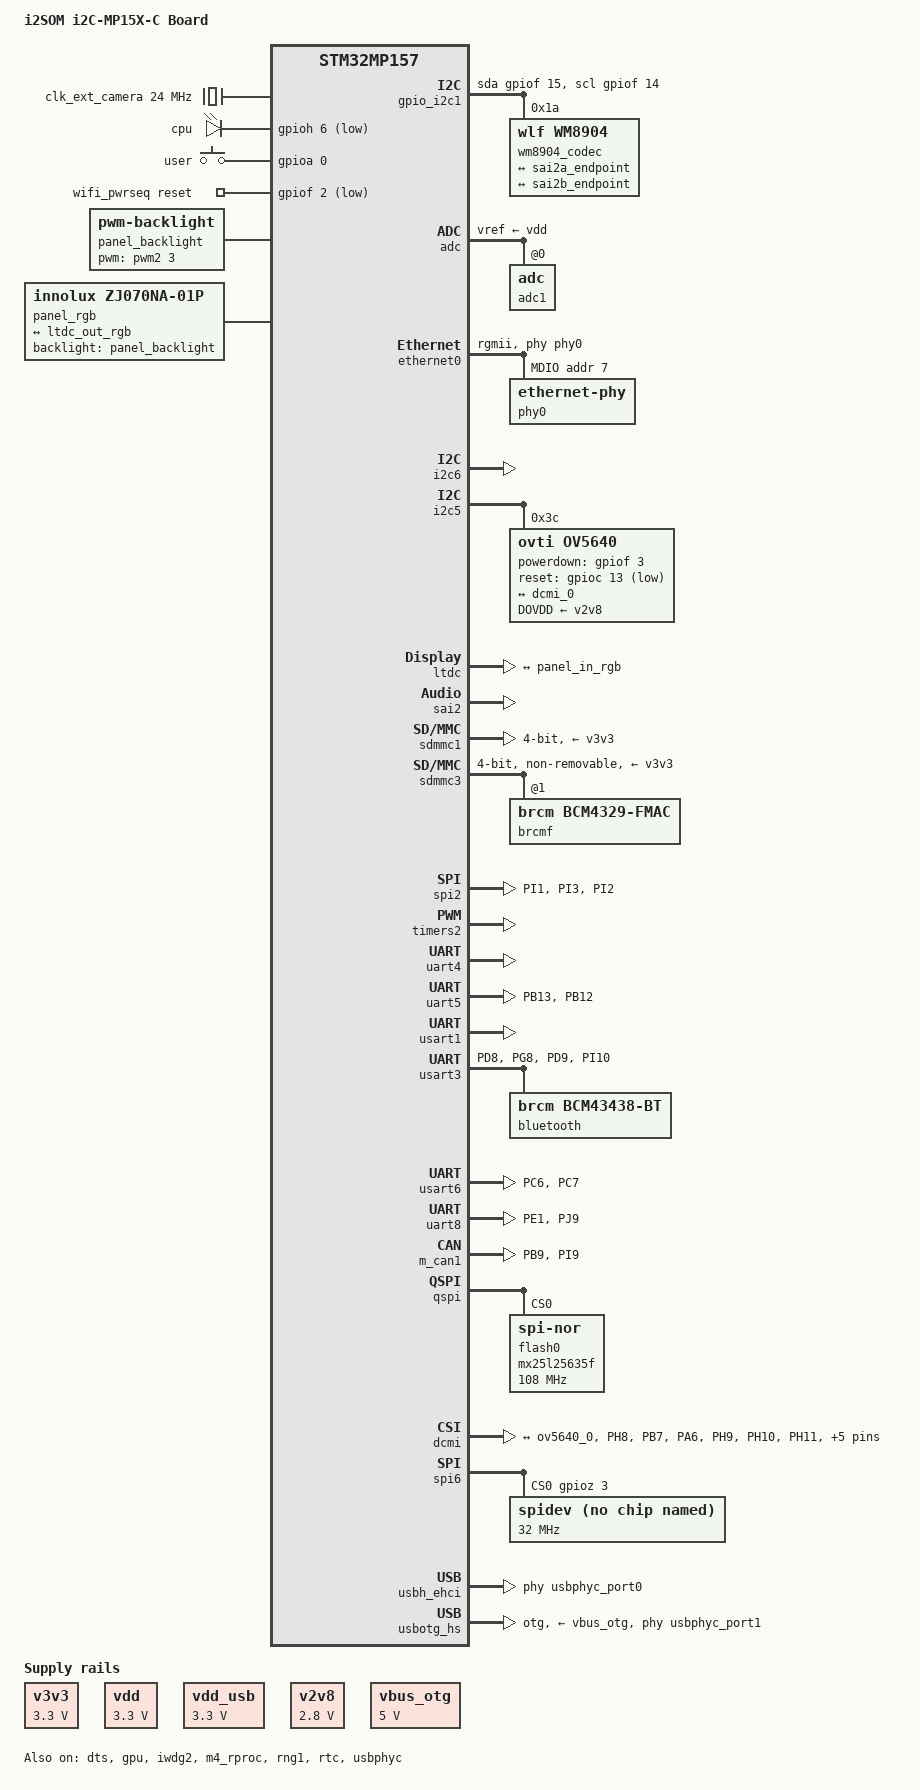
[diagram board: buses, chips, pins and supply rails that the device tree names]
// SPDX-License-Identifier: (GPL-2.0+ OR BSD-3-Clause)
/*
 * Copyright (C) i2SOM 2018 - All Rights Reserved
 * Author: Steve Chen <steve.chen@i2som.tech>.
 */

/dts-v1/;

#include "stm32mp157a-i2smp15x-d512e4.dtsi"
#include <dt-bindings/gpio/gpio.h>
#include <dt-bindings/input/input.h>
#include <dt-bindings/rtc/rtc-stm32.h>

/ {
	model = "i2SOM i2C-MP15X-C Board";
	compatible = "i2som,i2cmp15xb", "st,stm32mp157";

	aliases {
		ethernet0 = &ethernet0;
		serial0 = &uart4;
		serial3 = &usart1;
		serial2 = &usart3;
		serial4 = &uart5;
		serial5 = &usart6;
		serial7 = &uart8;
	};

	chosen {
		stdout-path = "serial0:115200n8";
	};

	clocks {
		clk_ext_camera: clk-ext-camera {
			#clock-cells = <0>;
			compatible = "fixed-clock";
			clock-frequency = <24000000>;
		};
	};

	leds {
		compatible = "gpio-leds";

		cpu {
			label = "cpu";
			gpios = <&gpioh 6 GPIO_ACTIVE_LOW>;
			linux,default-trigger = "heartbeat";
			default-state = "on";
		};
	};

	keys {
		compatible = "gpio-keys";

		user {
			label = "user";
			gpios = <&gpioa 0 GPIO_ACTIVE_HIGH>;
			gpio-key,wakeup;
			linux,code = <KEY_ENTER>;
		};
	};

	usb_phy_tuning: usb-phy-tuning {
		st,hs-dc-level = <2>;
		st,fs-rftime-tuning;
		st,hs-rftime-reduction;
		st,hs-current-trim = <15>;
		st,hs-impedance-trim = <1>;
		st,squelch-level = <3>;
		st,hs-rx-offset = <2>;
		st,no-lsfs-sc;
	};

	v3v3: regulator-3p3v {
		compatible = "regulator-fixed";
		regulator-name = "v3v3";
		regulator-min-microvolt = <3300000>;
		regulator-max-microvolt = <3300000>;
		regulator-always-on;
		regulator-boot-on;
	};

	vdd: regulator-vdd {
		compatible = "regulator-fixed";
		regulator-name = "vdd";
		regulator-min-microvolt = <3300000>;
		regulator-max-microvolt = <3300000>;
		regulator-always-on;
		regulator-boot-on;
	};

	vdd_usb: regulator-vdd-usb {
		compatible = "regulator-fixed";
		regulator-name = "vdd_usb";
		regulator-min-microvolt = <3300000>;
		regulator-max-microvolt = <3300000>;
		regulator-always-on;
		regulator-boot-on;
	};

	v2v8: v2v8 {
		compatible = "regulator-fixed";
		regulator-name = "v2v8";
		regulator-min-microvolt = <2800000>;
		regulator-max-microvolt = <2800000>;
		regulator-always-on;
		regulator-boot-on;
	};

	vbus_otg: regulator-vbus-otg {
		compatible = "regulator-fixed";
		regulator-name = "vbus_otg";
		regulator-min-microvolt = <5000000>;
		regulator-max-microvolt = <5000000>;
		regulator-always-on;
		regulator-boot-on;
	};

	wifi_pwrseq: wifi-pwrseq {
		compatible = "mmc-pwrseq-simple";
		reset-gpios = <&gpiof 2 GPIO_ACTIVE_LOW>;
	};

	gpio_i2c1: gpio-i2c1 {
		compatible = "i2c-gpio";
		sda-gpios = <&gpiof 15 (GPIO_ACTIVE_HIGH|GPIO_OPEN_DRAIN)>;
		scl-gpios = <&gpiof 14 (GPIO_ACTIVE_HIGH|GPIO_OPEN_DRAIN)>;
		i2c-gpio,delay-us = <2>;    /* ~100 kHz */
		#address-cells = <1>;
		#size-cells = <0>;
		status = "okay";
	};

	panel_backlight: panel-backlight {
		compatible = "pwm-backlight";
		pwms = <&pwm2 3 500000>;
		brightness-levels = <0 4 8 14 18 24 28 34 38 44 48 54 58 64 68 74 78 84 88 96 112 128 144 160 176 192 194 196 200 255>;
		default-brightness-level = <6>;
		status = "okay";
	};

	panel_rgb: panel-rgb {
		//compatible = "innolux,at070tn92";
		compatible = "innolux,zj070na-01p";
		//compatible = "innolux,at043tn24";
		pinctrl-names = "default", "sleep";
		pinctrl-0 = <&ltdc_pins_c>;
		pinctrl-1 = <&ltdc_pins_sleep_c>;
		backlight = <&panel_backlight>;
		status = "okay";

		port {
			panel_in_rgb: endpoint {
				remote-endpoint = <&ltdc_out_rgb>;
			};
		};
	};

	sound {
		compatible = "audio-graph-card";
		label = "WM8904-i2CMP15XB";
		mclk-fs = <256>;
		dai-format = "i2s";
		simple-audio-card,widgets =
			"Microphone", "Mic Jack",
			"Line", "Line In Jack",
			"Headphone", "Headphone Jack";
		simple-audio-card,routing =
			"Headphone Jack", "HPOUTL",
			"Headphone Jack", "HPOUTR",
			"MICBIAS", "Mic Jack",
			"IN1L", "MICBIAS",
			"IN2L", "Line In Jack",
			"IN2R", "Line In Jack";
		dais = <&sai2a_port &sai2b_port>;
		status = "okay";
	};
};

&pinctrl {
	pwm2_pins_b: pwm2-0 {
		pins {
			pinmux = <STM32_PINMUX('A', 3, AF1)>;  /* TIM2_CH4 */
			bias-pull-down;
			drive-push-pull;
			slew-rate = <0>;
		};
	};

	pwm2_sleep_pins_b: pwm2-sleep-0 {
		pins {
			pinmux = <STM32_PINMUX('A', 3, ANALOG)>;  /* TIM2_CH4 */
		};
	};

	uart5_pins_a: uart5-0 {
		pins1 {
			pinmux = <STM32_PINMUX('B', 13, AF14)>; /* UART5_TX */
			bias-disable;
			drive-push-pull;
			slew-rate = <0>;
		};
		pins2 {
			pinmux = <STM32_PINMUX('B', 12, AF14)>; /* UART5_RX */
			bias-disable;
		};
	};

	uart5_idle_pins_a: uart5-idle-0 {
		pins1 {
			pinmux = <STM32_PINMUX('B', 13, ANALOG)>; /* UART5_TX */
		};
		pins2 {
			pinmux = <STM32_PINMUX('B', 12, AF14)>; /* UART5_RX */
			bias-disable;
		};
	};

	uart5_sleep_pins_a: uart5-sleep-0 {
		pins {
			pinmux = <STM32_PINMUX('B', 13, ANALOG)>, /* UART5_TX */
				 <STM32_PINMUX('B', 12, ANALOG)>; /* UART5_RX */
		};
	};

	gt9147_irq:gt9147_irq {
		pins {
			pinmux = <STM32_PINMUX('G', 7, GPIO)>; /* PG7.GPIO */
			bias-pull-down;
			drive-push-pull;
		};
	};

	dcmi_pins_b: dcmi-1 {
		pins {
			pinmux = <STM32_PINMUX('H', 8,  AF13)>,/* DCMI_HSYNC */
				 <STM32_PINMUX('B', 7,  AF13)>,/* DCMI_VSYNC */
				 <STM32_PINMUX('A', 6,  AF13)>,/* DCMI_PIXCLK */
				 <STM32_PINMUX('H', 9,  AF13)>,/* DCMI_D0 */
				 <STM32_PINMUX('H', 10, AF13)>,/* DCMI_D1 */
				 <STM32_PINMUX('H', 11, AF13)>,/* DCMI_D2 */
				 <STM32_PINMUX('H', 12, AF13)>,/* DCMI_D3 */
				 <STM32_PINMUX('E', 4,  AF13)>,/* DCMI_D4 */
				 <STM32_PINMUX('I', 4,  AF13)>,/* DCMI_D5 */
				 <STM32_PINMUX('B', 8,  AF13)>,/* DCMI_D6 */
				 <STM32_PINMUX('E', 6,  AF13)>;/* DCMI_D7 */
			bias-disable;
		};
	};

	dcmi_sleep_pins_b: dcmi-sleep-1 {
		pins {
			pinmux = <STM32_PINMUX('H', 8,  ANALOG)>,/* DCMI_HSYNC */
				 <STM32_PINMUX('B', 7,  ANALOG)>,/* DCMI_VSYNC */
				 <STM32_PINMUX('A', 6,  ANALOG)>,/* DCMI_PIXCLK */
				 <STM32_PINMUX('H', 9,  ANALOG)>,/* DCMI_D0 */
				 <STM32_PINMUX('H', 10, ANALOG)>,/* DCMI_D1 */
				 <STM32_PINMUX('H', 11, ANALOG)>,/* DCMI_D2 */
				 <STM32_PINMUX('H', 12, ANALOG)>,/* DCMI_D3 */
				 <STM32_PINMUX('H', 14, ANALOG)>,/* DCMI_D4 */
				 <STM32_PINMUX('I', 4,  ANALOG)>,/* DCMI_D5 */
				 <STM32_PINMUX('B', 8,  ANALOG)>,/* DCMI_D6 */
				 <STM32_PINMUX('E', 6,  ANALOG)>;/* DCMI_D7 */
		};
	};

	ltdc_pins_c: ltdc-c-0 {
		pins {
			pinmux = <STM32_PINMUX('I', 14, AF14)>, /* LCD_CLK */
				 <STM32_PINMUX('I', 12, AF14)>, /* LCD_HSYNC */
				 <STM32_PINMUX('I', 13, AF14)>, /* LCD_VSYNC */
				 <STM32_PINMUX('K',  7, AF14)>, /* LCD_DE */
				 <STM32_PINMUX('I', 15, AF14)>, /* LCD_R0 */
				 <STM32_PINMUX('J',  0, AF14)>, /* LCD_R1 */
				 <STM32_PINMUX('J',  1, AF14)>, /* LCD_R2 */
				 <STM32_PINMUX('J',  2, AF14)>, /* LCD_R3 */
				 <STM32_PINMUX('J',  3, AF14)>, /* LCD_R4 */
				 <STM32_PINMUX('J',  4, AF14)>, /* LCD_R5 */
				 <STM32_PINMUX('J',  5, AF14)>, /* LCD_R6 */
				 <STM32_PINMUX('J',  6, AF14)>, /* LCD_R7 */
				 <STM32_PINMUX('J',  7, AF14)>, /* LCD_G0 */
				 <STM32_PINMUX('J',  8, AF14)>, /* LCD_G1 */
				 <STM32_PINMUX('H', 13, AF14)>, /* LCD_G2 */
				 <STM32_PINMUX('H', 14, AF14)>, /* LCD_G3 */
				 <STM32_PINMUX('J', 11, AF14)>, /* LCD_G4 */
				 <STM32_PINMUX('H',  4, AF9)>,  /* LCD_G5 */
				 <STM32_PINMUX('I', 11, AF9)>,  /* LCD_G6 */
				 <STM32_PINMUX('K',  2, AF14)>, /* LCD_G7 */
				 <STM32_PINMUX('J', 12, AF14)>, /* LCD_B0 */
				 <STM32_PINMUX('J', 13, AF14)>, /* LCD_B1 */
				 <STM32_PINMUX('J', 14, AF14)>, /* LCD_B2 */
				 <STM32_PINMUX('J', 15, AF14)>, /* LCD_B3 */
				 <STM32_PINMUX('K',  3, AF14)>, /* LCD_B4 */
				 <STM32_PINMUX('K',  4, AF14)>, /* LCD_B5 */
				 <STM32_PINMUX('K',  5, AF14)>, /* LCD_B6 */
				 <STM32_PINMUX('K',  6, AF14)>; /* LCD_B7 */
			bias-disable;
			drive-push-pull;
			slew-rate = <1>;
		};
	};

	ltdc_pins_sleep_c: ltdc-c-1 {
		pins {
			pinmux = <STM32_PINMUX('I', 14, ANALOG)>, /* LCD_CLK */
				 <STM32_PINMUX('I', 12, ANALOG)>, /* LCD_HSYNC */
				 <STM32_PINMUX('I', 13, ANALOG)>, /* LCD_VSYNC */
				 <STM32_PINMUX('K',  7, ANALOG)>, /* LCD_DE */
				 <STM32_PINMUX('I', 15, ANALOG)>, /* LCD_R0 */
				 <STM32_PINMUX('J',  0, ANALOG)>, /* LCD_R1 */
				 <STM32_PINMUX('J',  1, ANALOG)>, /* LCD_R2 */
				 <STM32_PINMUX('J',  2, ANALOG)>, /* LCD_R3 */
				 <STM32_PINMUX('J',  3, ANALOG)>, /* LCD_R4 */
				 <STM32_PINMUX('J',  4, ANALOG)>, /* LCD_R5 */
				 <STM32_PINMUX('J',  5, ANALOG)>, /* LCD_R6 */
				 <STM32_PINMUX('J',  6, ANALOG)>, /* LCD_R7 */
				 <STM32_PINMUX('J',  7, ANALOG)>, /* LCD_G0 */
				 <STM32_PINMUX('J',  8, ANALOG)>, /* LCD_G1 */
				 <STM32_PINMUX('H', 13, ANALOG)>, /* LCD_G2 */
				 <STM32_PINMUX('H', 14, ANALOG)>, /* LCD_G3 */
				 <STM32_PINMUX('J', 11, ANALOG)>, /* LCD_G4 */
				 <STM32_PINMUX('H',  4, ANALOG)>, /* LCD_G5 */
				 <STM32_PINMUX('I', 11, ANALOG)>, /* LCD_G6 */
				 <STM32_PINMUX('K',  2, ANALOG)>, /* LCD_G7 */
				 <STM32_PINMUX('J', 12, ANALOG)>, /* LCD_B0 */
				 <STM32_PINMUX('J', 13, ANALOG)>, /* LCD_B1 */
				 <STM32_PINMUX('J', 14, ANALOG)>, /* LCD_B2 */
				 <STM32_PINMUX('J', 15, ANALOG)>, /* LCD_B3 */
				 <STM32_PINMUX('K',  3, ANALOG)>, /* LCD_B4 */
				 <STM32_PINMUX('K',  4, ANALOG)>, /* LCD_B5 */
				 <STM32_PINMUX('K',  5, ANALOG)>, /* LCD_B6 */
				 <STM32_PINMUX('K',  6, ANALOG)>; /* LCD_B7 */
		};
	};

	uart8_pins_a: uart8-0 {
		pins1 {
			pinmux = <STM32_PINMUX('E', 1, AF8)>; /* UART8_TX */
			bias-disable;
			drive-push-pull;
			slew-rate = <0>;
		};
		pins2 {
			pinmux = <STM32_PINMUX('J', 9, AF8)>; /* UART8_RX */
			bias-disable;
		};
	};

	uart8_idle_pins_a: uart8-idle-0 {
		pins1 {
			pinmux = <STM32_PINMUX('E', 1, ANALOG)>; /* UART8_TX */
		};
		pins2 {
			pinmux = <STM32_PINMUX('J', 9, AF8)>; /* UART8_RX */
			bias-disable;
		};
	};

	uart8_sleep_pins_a: uart8-sleep-0 {
		pins {
			pinmux = <STM32_PINMUX('E', 1, ANALOG)>, /* UART8_TX */
				 <STM32_PINMUX('J', 9, ANALOG)>; /* UART8_RX */
		};
	};

	m_can1_pins_b: m-can1-b-0 {
		pins1 {
			pinmux = <STM32_PINMUX('B', 9, AF9)>; /* CAN1_TX */
			slew-rate = <0>;
			drive-push-pull;
			bias-disable;
		};
		pins2 {
			pinmux = <STM32_PINMUX('I', 9, AF9)>; /* CAN1_RX */
			bias-disable;
		};
	};

	m_can1_sleep_pins_b: m_can1-b-sleep@0 {
		pins {
			pinmux = <STM32_PINMUX('B', 9, ANALOG)>, /* CAN1_TX */
				 <STM32_PINMUX('I', 9, ANALOG)>; /* CAN1_RX */
		};
	};

	m_can2_pins_a: m-can2-0 {
		pins1 {
			pinmux = <STM32_PINMUX('B', 13, AF9)>; /* CAN2_TX */
			slew-rate = <0>;
			drive-push-pull;
			bias-disable;
		};
		pins2 {
			pinmux = <STM32_PINMUX('B', 12, AF9)>; /* CAN2_RX */
			bias-disable;
		};
	};

	m_can2_sleep_pins_a: m_can2-sleep@0 {
		pins {
			pinmux = <STM32_PINMUX('B', 13, ANALOG)>, /* CAN2_TX */
				 <STM32_PINMUX('B', 12, ANALOG)>; /* CAN2_RX */
		};
	};

	usart3_pins_c: usart3-2 {
		pins1 {
			pinmux = <STM32_PINMUX('D', 8, AF7)>, /* USART3_TX */
				 <STM32_PINMUX('G', 8, AF8)>; /* USART3_RTS */
			bias-disable;
			drive-push-pull;
			slew-rate = <0>;
		};
		pins2 {
			pinmux = <STM32_PINMUX('D', 9, AF7)>, /* USART3_RX */
				 <STM32_PINMUX('I', 10, AF8)>; /* USART3_CTS_NSS */
			bias-disable;
		};
	};

	usart3_idle_pins_c: usart3-idle-2 {
		pins1 {
			pinmux = <STM32_PINMUX('D', 8, ANALOG)>, /* USART3_TX */
				 <STM32_PINMUX('G', 8, ANALOG)>, /* USART3_RTS */
				 <STM32_PINMUX('I', 10, ANALOG)>; /* USART3_CTS_NSS */
		};
		pins2 {
			pinmux = <STM32_PINMUX('D', 9, AF7)>; /* USART3_RX */
			bias-disable;
		};
	};

	usart3_sleep_pins_c: usart3-sleep-2 {
		pins {
			pinmux = <STM32_PINMUX('D', 8, ANALOG)>, /* USART3_TX */
				 <STM32_PINMUX('G', 8, ANALOG)>, /* USART3_RTS */
				 <STM32_PINMUX('I', 10, ANALOG)>, /* USART3_CTS_NSS */
				 <STM32_PINMUX('D', 9, ANALOG)>; /* USART3_RX */
		};
	};

	usart6_pins_a: usart6-a-1 {
		pins1 {
			pinmux = <STM32_PINMUX('C', 6, AF7)>; /* USART6_TX */
			bias-disable;
			drive-push-pull;
			slew-rate = <0>;
		};
		pins2 {
			pinmux = <STM32_PINMUX('C', 7, AF7)>; /* USART6_RX */
			bias-disable;
		};
	};

	usart6_idle_pins_a: usart6-idle-a-2 {
		pins1 {
			pinmux = <STM32_PINMUX('C', 6, ANALOG)>; /* USART6_TX */
		};
		pins2 {
			pinmux = <STM32_PINMUX('C', 7, AF7)>; /* USART6_RX */
			bias-disable;
		};
	};

	usart6_sleep_pins_a: usart6-sleep-a-2 {
		pins {
			pinmux = <STM32_PINMUX('C', 6, ANALOG)>, /* USART6_TX */
				 <STM32_PINMUX('C', 7, ANALOG)>; /* USART6_RX */
		};
	};


	i2c1_pins_b: i2c1-b-0 {
		pins {
			pinmux = <STM32_PINMUX('F', 14, AF5)>, /* I2C1_SCL */
				 <STM32_PINMUX('F', 15, AF5)>; /* I2C1_SDA */
			bias-disable;
			drive-open-drain;
			slew-rate = <0>;
		};
	};

	i2c1_pins_sleep_b: i2c1-b-1 {
		pins {
			pinmux = <STM32_PINMUX('F', 14, ANALOG)>, /* I2C1_SCL */
				 <STM32_PINMUX('F', 15, ANALOG)>; /* I2C1_SDA */
		};
	};

	spi2_pins_a: spi2-0 {
		pins1 {
			pinmux = <STM32_PINMUX('I', 1, AF5)>, /* SPI2_SCK */
				 <STM32_PINMUX('I', 3, AF5)>; /* SPI2_MOSI */
				 bias-disable;
				 drive-push-pull;
				 slew-rate = <1>;
		};

		pins2 {
			pinmux = <STM32_PINMUX('I', 2, AF5)>; /* SPI2_MISO */
		        bias-disable;
		};
	};

	spi2_sleep_pins_a: spi2-sleep-0 {
		pins {
			pinmux = <STM32_PINMUX('I', 1, ANALOG)>, /* SPI2_SCK */
				 <STM32_PINMUX('I', 2, ANALOG)>, /* SPI2_MISO */
				 <STM32_PINMUX('I', 3, ANALOG)>; /* SPI2_MOSI */
		};
	};

	bt_reg: bt_reg_on-1 {
		pins {
			pinmux = <STM32_PINMUX('G', 3, GPIO)>;
			drive-push-pull;
			bias-pull-up;
			output-high;
			slew-rate = <0>;
		};
	};
};

&pinctrl_z {
	usart1_pins_a: usart1-0 {
		pins1 {
			pinmux = <STM32_PINMUX('Z', 7, AF7)>; /* USART1_TX */
			bias-disable;
			drive-push-pull;
			slew-rate = <0>;
		};
		pins2 {
			pinmux = <STM32_PINMUX('Z', 6, AF7)>; /* USART1_RX */
			bias-disable;
		};
	};

	usart1_idle_pins_a: usart1-idle-0 {
		pins1 {
			pinmux = <STM32_PINMUX('Z', 7, ANALOG)>; /* USART1_TX */
		};
		pins2 {
			pinmux = <STM32_PINMUX('Z', 6, AF7)>; /* USART1_RX */
			bias-disable;
		};
	};

	usart1_sleep_pins_a: usart1-sleep-0 {
		pins {
			pinmux = <STM32_PINMUX('Z', 7, ANALOG)>, /* USART1_TX */
				 <STM32_PINMUX('Z', 6, ANALOG)>; /* USART1_RX */
		};
	};

	i2c6_pins_a: i2c6-0 {
		pins {
			pinmux = <STM32_PINMUX('Z', 4, AF2)>, /* I2C6_SCL */
				 <STM32_PINMUX('Z', 5, AF2)>; /* I2C6_SDA */
			bias-disable;
			drive-open-drain;
			slew-rate = <0>;
		};
	};

	i2c6_pins_sleep_a: i2c6-1 {
		pins {
			pinmux = <STM32_PINMUX('Z', 4, ANALOG)>, /* I2C6_SCL */
				 <STM32_PINMUX('Z', 5, ANALOG)>; /* I2C6_SDA */
		};
	};

	spi6_pins_a: spi6-0 {
		pins1 {
			pinmux = <STM32_PINMUX('Z', 0, AF8)>, /* SPI4_SCK */
				 <STM32_PINMUX('Z', 2, AF8)>; /* SPI4_MOSI */
				 bias-disable;
				 drive-push-pull;
				 slew-rate = <1>;
		};

		pins2 {
			pinmux = <STM32_PINMUX('Z', 1, AF8)>; /* SPI4_MISO */
		        bias-disable;
		};
	};

	spi6_sleep_pins_a: spi6-sleep-0 {
		pins {
			pinmux = <STM32_PINMUX('Z', 0, ANALOG)>, /* SPI4_SCK */
				 <STM32_PINMUX('Z', 1, ANALOG)>, /* SPI4_MISO */
				 <STM32_PINMUX('Z', 2, ANALOG)>; /* SPI4_MOSI */
		};
	};
};

&adc {
	vref-supply = <&vdd>;
	status = "okay";

	adc1: adc@0 {
		st,adc-channels = <0 1>;
		st,min-sample-time-nsecs = <10000>;
		status = "okay";
	};
};

&cec {
	status = "disabled";
};

&dma1 {
	sram = <&dma_pool>;
};

&dma2 {
	sram = <&dma_pool>;
};

&dts {
	status = "okay";
};

&ethernet0 {
	pinctrl-0 = <&ethernet0_rgmii_pins_a>;
	pinctrl-1 = <&ethernet0_rgmii_pins_sleep_a>;
	pinctrl-names = "default", "sleep";
	clock-names = "stmmaceth",
		      "mac-clk-tx",
		      "mac-clk-rx",
		      "ethstp",
		      "syscfg-clk",
		      "eth-ck";
	clocks = <&rcc ETHMAC>,
		 <&rcc ETHTX>,
		 <&rcc ETHRX>,
		 <&rcc ETHSTP>,
		 <&rcc SYSCFG>,
		 <&rcc ETHCK_K>;
	assigned-clocks = <&rcc ETHCK_K>;
	assigned-clock-parents = <&rcc PLL4_P>;
	assigned-clock-rates = <125000000>;
	phy-mode = "rgmii";
	max-speed = <1000>;
	phy-handle = <&phy0>;
	st,eth_clk_sel;
	status = "okay";

	mdio0 {
		#address-cells = <1>;
		#size-cells = <0>;
		compatible = "snps,dwmac-mdio";
		phy0: ethernet-phy@7 {
			reg = <7>;
			/* REG 0x0008, 5 bits per skew */
			txc-skew-ps  = <1800>;/* 900ps */
			rxc-skew-ps  = <1320>;/* 420ps */

			/* REG 0x0004, 4 bits per skew */
			txen-skew-ps = <420>; /* 0ps */
			rxdv-skew-ps = <420>; /* 0ps */

			/* REG 0x0005, 4 bits per skew */
			rxd0-skew-ps = <780>; /* 300ps */
			rxd1-skew-ps = <780>; /* 360ps */
			rxd2-skew-ps = <840>; /* 420ps */
			rxd3-skew-ps = <900>; /* 480ps */

			/* REG 0x0006, 4 bits per skew */
			txd0-skew-ps = <0>;   /* -420ps */
			txd1-skew-ps = <60>;  /* -360ps */
			txd2-skew-ps = <120>; /* -300ps */
			txd3-skew-ps = <180>; /* -240ps */

			micrel,force-master;
		};
	};
};

&gpu {
	contiguous-area = <&gpu_reserved>;
	status = "okay";
};

&i2c1 {
	pinctrl-names = "default", "sleep";
	pinctrl-0 = <&i2c1_pins_b>;
	pinctrl-1 = <&i2c1_pins_sleep_b>;
	i2c-scl-rising-time-ns = <100>;
	i2c-scl-falling-time-ns = <7>;
	status = "disabled";
	/delete-property/dmas;
	/delete-property/dma-names;
};

&gpio_i2c1 {

	wm8904_codec: wm8904@1a {
		compatible = "wlf,wm8904";
		#sound-dai-cells = <0>;
		reg = <0x1a>;
		status = "okay";

		clocks = <&sai2a>;
		clock-names = "mclk";

		wm8904_port: port {
			#address-cells = <1>;
			#size-cells = <0>;

			wm8904_tx_endpoint: endpoint@0 {
				reg = <0>;
				remote-endpoint = <&sai2a_endpoint>;
				frame-master;
				bitclock-master;
			};

			wm8904_rx_endpoint: endpoint@1 {
				reg = <1>;
				remote-endpoint = <&sai2b_endpoint>;
				frame-master;
				bitclock-master;
			};
		};

	};
};

&i2c6 {
	pinctrl-names = "default", "sleep";
	pinctrl-0 = <&i2c6_pins_a>;
	pinctrl-1 = <&i2c6_pins_sleep_a>;
	i2c-scl-rising-time-ns = <100>;
	i2c-scl-falling-time-ns = <7>;
	status = "okay";
	/delete-property/dmas;
	/delete-property/dma-names;

};

&i2c5 {
	pinctrl-names = "default", "sleep";
	pinctrl-0 = <&i2c5_pins_a>;
	pinctrl-1 = <&i2c5_pins_sleep_a>;
	i2c-scl-rising-time-ns = <100>;
	i2c-scl-falling-time-ns = <7>;
	status = "okay";
	/delete-property/dmas;
	/delete-property/dma-names;


	ov5640: camera@3c {
		compatible = "ovti,ov5640";
		reg = <0x3c>;
		clocks = <&clk_ext_camera>;
		clock-names = "xclk";
		DOVDD-supply = <&v2v8>;
		powerdown-gpios = <&gpiof 3 GPIO_ACTIVE_HIGH>;
		reset-gpios = <&gpioc 13 GPIO_ACTIVE_LOW>;
		rotation = <180>;
		status = "okay";

		port {
			ov5640_0: endpoint {
				remote-endpoint = <&dcmi_0>;
				bus-width = <8>;
				data-shift = <2>; /* lines 9:2 are used */
				hsync-active = <0>;
				vsync-active = <0>;
				pclk-sample = <1>;
				pclk-max-frequency = <77000000>;
			};
		};
	};
};

&ipcc {
	status = "okay";
};

&iwdg2 {
	timeout-sec = <32>;
	status = "okay";
};

&ltdc {
	status = "okay";

	port {
		#address-cells = <1>;
		#size-cells = <0>;

		ltdc_out_rgb: endpoint@1 {
			reg = <1>;
			remote-endpoint = <&panel_in_rgb>;
		};
	};
};

&m4_rproc {
	memory-region = <&retram>, <&mcuram>, <&mcuram2>, <&vdev0vring0>,
			<&vdev0vring1>, <&vdev0buffer>;
	mboxes = <&ipcc 0>, <&ipcc 1>, <&ipcc 2>;
	mbox-names = "vq0", "vq1", "shutdown";
	interrupt-parent = <&exti>;
	interrupts = <68 1>;
	interrupt-names = "wdg";
	recovery;
	status = "okay";
};

&pwr {
	pwr-supply = <&vdd>;
};

&rng1 {
	status = "okay";
};

&rtc {
	st,lsco = <RTC_OUT2_RMP>;
	pinctrl-0 = <&rtc_out2_rmp_pins_a>;
	pinctrl-names = "default";
	status = "okay";
};

&sai2 {
	clocks = <&rcc SAI2>, <&rcc PLL3_Q>, <&rcc PLL3_R>;
	clock-names = "pclk", "x8k", "x11k";
	pinctrl-names = "default", "sleep";
	pinctrl-0 = <&sai2a_pins_a>, <&sai2b_pins_b>;
	pinctrl-1 = <&sai2a_sleep_pins_a>, <&sai2b_sleep_pins_b>;
	status = "okay";

	sai2a: audio-controller@4400b004 {
		#clock-cells = <0>;
		dma-names = "tx";
		clocks = <&rcc SAI2_K>;
		clock-names = "sai_ck";
		status = "okay";

		sai2a_port: port {
			sai2a_endpoint: endpoint {
				remote-endpoint = <&wm8904_tx_endpoint>;
				format = "i2s";
				mclk-fs = <256>;
				dai-tdm-slot-num = <2>;
				dai-tdm-slot-width = <16>;
			};
		};
	};

	sai2b: audio-controller@4400b024 {
		dma-names = "rx";
		st,sync = <&sai2a 2>;
		clocks = <&rcc SAI2_K>, <&sai2a>;
		clock-names = "sai_ck", "MCLK";
		status = "okay";

		sai2b_port: port {
			sai2b_endpoint: endpoint {
				remote-endpoint	= <&wm8904_rx_endpoint>;
				format = "i2s";
				mclk-fs = <256>;
				dai-tdm-slot-num = <2>;
				dai-tdm-slot-width = <16>;
			};
		};
	};
};

&sdmmc1 {
	pinctrl-names = "default", "opendrain", "sleep";
	pinctrl-0 = <&sdmmc1_b4_pins_a>;
	pinctrl-1 = <&sdmmc1_b4_od_pins_a>;
	pinctrl-2 = <&sdmmc1_b4_sleep_pins_a>;
	broken-cd;
	st,neg-edge;
	bus-width = <4>;
	vmmc-supply = <&v3v3>;
	status = "okay";
};

/* WiFi module */
&sdmmc3 {
	arm,primecell-periphid = <0x10153180>;
	pinctrl-names = "default", "opendrain", "sleep";
	pinctrl-0 = <&sdmmc3_b4_pins_a>;
	pinctrl-1 = <&sdmmc3_b4_od_pins_a>;
	pinctrl-2 = <&sdmmc3_b4_sleep_pins_a>;
	vmmc-supply = <&v3v3>;
	mmc-pwrseq = <&wifi_pwrseq>;
	non-removable;
	st,neg-edge;
	#address-cells = <1>;
	#size-cells = <0>;
	keep-power-in-suspend;
	bus-width = <4>;
	no-1-8-v;
	status = "okay";

	brcmf: bcrmf@1 {
		reg = <1>;
		compatible = "brcm,bcm4329-fmac";
	};
};

&spi2 {
	pinctrl-names = "default", "sleep";
	pinctrl-0 = <&spi2_pins_a>;
	pinctrl-1 = <&spi2_sleep_pins_a>;
	status = "okay";
};

&timers2 {
	status = "okay";
	/* spare dmas for other usage */
	/delete-property/dmas;
	/delete-property/dma-names;
	pwm2: pwm {
		pinctrl-0 = <&pwm2_pins_b>;
		pinctrl-1 = <&pwm2_sleep_pins_b>;
		pinctrl-names = "default", "sleep";
		#pwm-cells = <2>;
		status = "okay";
	};
	timer@1 {
		status = "disabled";
	};
};

&uart4 {
	pinctrl-names = "default", "sleep", "idle", "no_console_suspend";
	pinctrl-0 = <&uart4_pins_a>;
	pinctrl-1 = <&uart4_sleep_pins_a>;
	pinctrl-2 = <&uart4_idle_pins_a>;
	pinctrl-3 = <&uart4_pins_a>;
	status = "okay";
};

&uart5 {
	pinctrl-names = "default", "sleep", "idle";
	pinctrl-0 = <&uart5_pins_a>;
	pinctrl-1 = <&uart5_sleep_pins_a>;
	pinctrl-2 = <&uart5_idle_pins_a>;
	status = "okay";
};

&usart1 {
	pinctrl-names = "default", "sleep", "idle";
	pinctrl-0 = <&usart1_pins_a>;
	pinctrl-1 = <&usart1_sleep_pins_a>;
	pinctrl-2 = <&usart1_idle_pins_a>;
	rs485de-gpios = <&gpiof 12 1>;
	status = "okay";
};

&usart3 {
	pinctrl-names = "default", "sleep", "idle";
	pinctrl-0 = <&usart3_pins_c>;
	pinctrl-1 = <&usart3_sleep_pins_c>;
	pinctrl-2 = <&usart3_idle_pins_c>;
	st,hw-flow-ctrl;
	status = "okay";

	bluetooth {
		pinctrl-names = "default";
		pinctrl-0 = <&bt_reg>;
		compatible = "brcm,bcm43438-bt";
		max-speed = <3000000>;
	};

};

&usart6 {
	pinctrl-names = "default", "sleep", "idle";
	pinctrl-0 = <&usart6_pins_a>;
	pinctrl-1 = <&usart6_sleep_pins_a>;
	pinctrl-2 = <&usart6_idle_pins_a>;
	status = "okay";
};


&uart8 {
	pinctrl-names = "default", "sleep", "idle";
	pinctrl-0 = <&uart8_pins_a>;
	pinctrl-1 = <&uart8_sleep_pins_a>;
	pinctrl-2 = <&uart8_idle_pins_a>;
	rs485de-gpios = <&gpioh 5 1>;
	status = "okay";
};

&m_can1 {
	pinctrl-names = "default", "sleep";
	pinctrl-0 = <&m_can1_pins_b>;
	pinctrl-1 = <&m_can1_sleep_pins_b>;
	status = "okay";
};


/* conflict with uart5 */
&m_can2 {
	pinctrl-names = "default", "sleep";
	pinctrl-0 = <&m_can2_pins_a>;
	pinctrl-1 = <&m_can2_sleep_pins_a>;
	status = "disabled";
};

&qspi {
	pinctrl-names = "default", "sleep";
	pinctrl-0 = <&qspi_clk_pins_a &qspi_bk1_pins_a>;
	pinctrl-1 = <&qspi_clk_sleep_pins_a &qspi_bk1_sleep_pins_a>;
	reg = <0x58003000 0x1000>, <0x70000000 0x4000000>;
	#address-cells = <1>;
	#size-cells = <0>;
	status = "okay";

	flash0: mx25l25635f@0 {
		compatible = "jedec,spi-nor";
		reg = <0>;
		spi-rx-bus-width = <4>;
		spi-max-frequency = <108000000>;
		#address-cells = <1>;
		#size-cells = <1>;
	};
};

&dcmi {
	pinctrl-names = "default", "sleep";
	pinctrl-0 = <&dcmi_pins_b>;
	pinctrl-1 = <&dcmi_sleep_pins_b>;
	status = "okay";

	port {
		dcmi_0: endpoint {
			remote-endpoint = <&ov5640_0>;
			bus-width = <8>;
			hsync-active = <0>;
			vsync-active = <0>;
			pclk-sample = <1>;
			pclk-max-frequency = <77000000>;
		};
	};
};

&spi6 {
	pinctrl-names = "default", "sleep";
	pinctrl-0 = <&spi6_pins_a>;
	pinctrl-1 = <&spi6_sleep_pins_a>;
	cs-gpios = <&gpioz 3 0>;
	status = "okay";

	 spidev@0{
		 compatible = "rohm,dh2228fv", "spidev";
		 reg = <0>;
		 spi-max-frequency = <32000000>;
	};
};

&usbh_ehci {
	phys = <&usbphyc_port0>;
	phy-names = "usb";
	status = "okay";
};

&usbotg_hs {
	pinctrl-names = "default";
	pinctrl-0 = <&usbotg_hs_pins_a>;
	dr_mode = "otg";
	phys = <&usbphyc_port1 0>;
	phy-names = "usb2-phy";
	vbus-supply = <&vbus_otg>;
	status = "okay";
};

&usbphyc {
	vdd3v3-supply = <&vdd_usb>;
	status = "okay";
};

&usbphyc_port0 {
	st,phy-tuning = <&usb_phy_tuning>;
};

&usbphyc_port1 {
	st,phy-tuning = <&usb_phy_tuning>;
};

&vrefbuf {
	regulator-min-microvolt = <2500000>;
	regulator-max-microvolt = <2500000>;
	vdda-supply = <&vdd>;
	status = "disabled";
};
